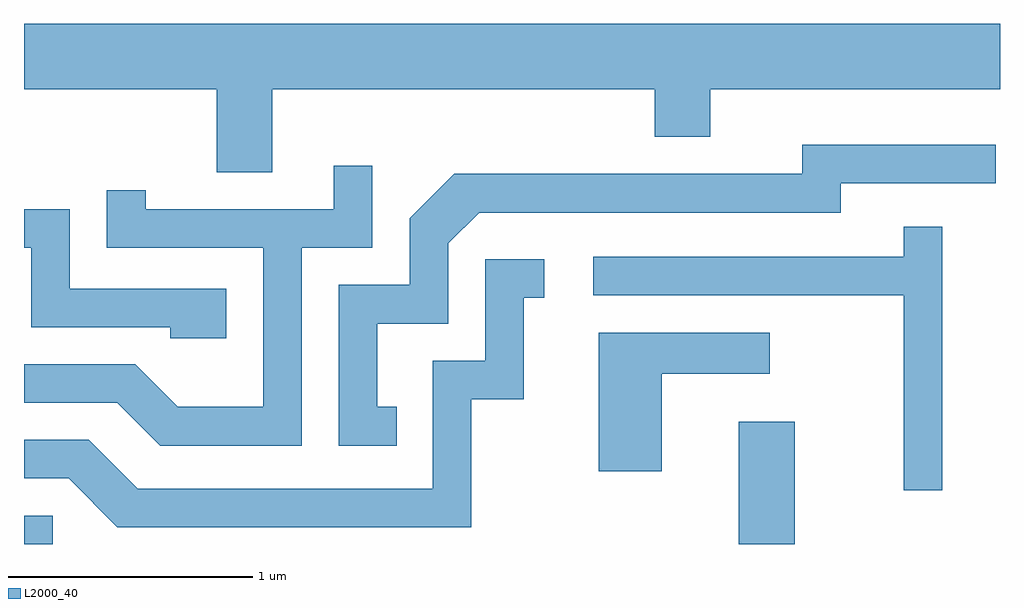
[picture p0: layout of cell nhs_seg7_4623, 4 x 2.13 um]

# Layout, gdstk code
import gdstk
lib = gdstk.Library(unit=1e-6, precision=1e-09)
def R(c, l, rs):  # rectangles x0, y0, x1, y1
    for r in rs: c.add(gdstk.rectangle(r[:2], r[2:], *l))
def P(c, l, *ps):  # polygons
    for p in ps: c.add(gdstk.Polygon(p, *l))
L2000_40 = (2000, 40)

nhs_seg7_4623 = lib.new_cell('nhs_seg7_4623')
R(nhs_seg7_4623, L2000_40, [(327.611,1690.252,327.729,1690.369), (330.541,1690.252,330.769,1690.754)])
P(nhs_seg7_4623, L2000_40, [(328.629,1692.116),(330.196,1692.116),(330.196,1691.921),(330.424,1691.921),(330.424,1692.116),(331.611,1692.116),(331.611,1692.384),(327.611,1692.384),(327.611,1692.116),(328.401,1692.116),(328.401,1691.776),(328.629,1691.776)],
  [(329.138,1690.814),(329.059,1690.814),(329.059,1691.156),(329.349,1691.156),(329.349,1691.484),(329.477,1691.611),(330.959,1691.611),(330.959,1691.731),(331.593,1691.731),(331.593,1691.889),(330.801,1691.889),(330.801,1691.769),(329.374,1691.769),(329.191,1691.587),(329.191,1691.314),(328.901,1691.314),(328.901,1690.656),(329.138,1690.656)],
  [(328.749,1691.466),(329.039,1691.466),(329.039,1691.803),(328.881,1691.803),(328.881,1691.624),(328.109,1691.624),(328.109,1691.703),(327.951,1691.703),(327.951,1691.466),(328.591,1691.466),(328.591,1690.814),(328.242,1690.814),(328.067,1690.989),(327.611,1690.989),(327.611,1690.831),(327.994,1690.831),(328.169,1690.656),(328.749,1690.656)],
  [(328.439,1691.299),(327.799,1691.299),(327.799,1691.624),(327.611,1691.624),(327.611,1691.466),(327.641,1691.466),(327.641,1691.141),(328.211,1691.141),(328.211,1691.096),(328.439,1691.096)],
  [(331.374,1691.553),(331.216,1691.553),(331.216,1691.429),(329.943,1691.429),(329.943,1691.271),(331.216,1691.271),(331.216,1690.473),(331.374,1690.473)],
  [(329.444,1690.846),(329.659,1690.846),(329.659,1691.261),(329.743,1691.261),(329.743,1691.419),(329.501,1691.419),(329.501,1691.004),(329.286,1691.004),(329.286,1690.479),(328.077,1690.479),(327.877,1690.679),(327.611,1690.679),(327.611,1690.521),(327.794,1690.521),(327.994,1690.321),(329.444,1690.321)],
  [(330.224,1690.951),(330.668,1690.951),(330.668,1691.119),(329.966,1691.119),(329.966,1690.551),(330.224,1690.551)])

lib.write_gds('nhs_seg7_4623.gds')
